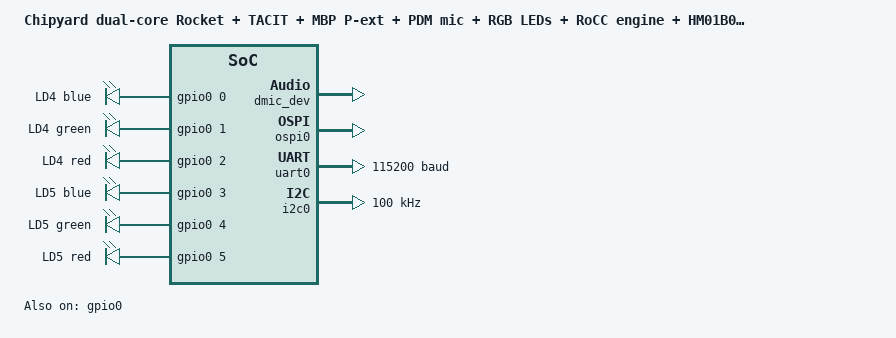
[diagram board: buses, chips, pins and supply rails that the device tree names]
/dts-v1/;

/*
 * chipyard_pynqz1_micrgb plus the HM01B0 camera shield: a sifive TLI2C and the ospi capture
 * peripheral.  For 0x5A5A001E, PynqZ2RocketBigLittlePextTacitMicRgbRoccMoonCamConfig
 * (fpga/pynq-z2/docs/CAMERA_Z1.md).  The RoCC engine on hart 1 is a custom-1 instruction and a
 * pair of bus masters; it has no node.
 *
 * TRANSCRIBED FROM THE GENERATED DTS, which is ground truth:
 *   generated-src/chipyard.harness.TestHarness.PynqZ2RocketBigLittlePextTacitMicRgbRoccMoonCamConfig/*.dts
 * It says, against 0x5A5A0010's:
 *
 *     i2c@10040000     compatible = "sifive,i2c0"; interrupts = <1>;  reg = <0x10040000 0x1000>;
 *     serial@10020000  interrupts = <2>;                  (was <1>)
 *     gpio@10010000    interrupts = <3 4 5 6 7 8>;        (was <2 3 4 5 6 7>)
 *     ospi@10080000    compatible = "ucbbar,ospi-hm01b0"; interrupts = <9>; reg = <0x10080000 0x1000>;
 *     pdm-mic@10090000 no interrupts                      (unchanged)
 *     interrupt-controller@c000000  riscv,ndev = <9>;     (was <7>)
 *
 * THE UART MOVED.  DigitalTop mixes in HasPeripheryI2C before HasPeripheryUART, so the new I2C
 * source is numbered first and everything after it shifts by one.  This is the reason this board
 * exists rather than an overlay on chipyard_pynqz1_micrgb: that board's `interrupts = <1 1>` on
 * the UART is the I2C controller here.
 *
 * THE I2C BUS SPEED IS NOT IN THE GENERATED DTS.  Chipyard's i2c node carries no
 * clock-frequency; Zephyr's i2c_sifive.c needs one for the bus rate (DT_INST_PROP(n,
 * clock_frequency)) and takes the input clock from SIFIVE_PERIPHERAL_CLOCK_FREQUENCY
 * (34,483,000 Hz from this board's defconfig).  The i2c0 node in dts/riscv/chipyard/
 * chipyard-riscv.dtsi already says 100 kHz and "disabled"; this file enables it and corrects
 * its interrupt.  The HM01B0 allows 400 kHz; 100 kHz is kept, as the 200T did not record one.
 *
 * riscv,ndev stays at the shared dtsi's 1024, as on every board here.
 */

#include <zephyr/dt-bindings/gpio/gpio.h>
#include <chipyard/chipyard-riscv64.dtsi>

/ {
	model = "Chipyard dual-core Rocket + TACIT + MBP P-ext + PDM mic + RGB LEDs + RoCC engine + HM01B0 camera (PYNQ-Z1)";
	compatible = "ucb-bar,chipyard-dev";

	chosen {
		zephyr,console = &uart0;
		zephyr,shell-uart = &uart0;
		zephyr,sram = &ram0;
	};

	soc {
		dmic_dev: pdm-mic@10090000 {
			compatible = "iiswc,pdm-mic";
			reg = <0x10090000 0x1000>;
			status = "okay";
		};

		gpio0: gpio@10010000 {
			compatible = "sifive,gpio0";
			reg = <0x10010000 0x1000>;
			reg-names = "control";
			interrupt-parent = <&plic>;
			/* the generated DTS's `interrupts = <3 4 5 6 7 8>` -- one higher than micrgb */
			interrupts = <3 1>, <4 1>, <5 1>, <6 1>, <7 1>, <8 1>;
			gpio-controller;
			#gpio-cells = <2>;
			ngpios = <6>;
			status = "okay";
		};

		ospi0: ospi@10080000 {
			compatible = "ucbbar,ospi-hm01b0";
			reg = <0x10080000 0x1000>;
			interrupt-parent = <&plic>;
			interrupts = <9 1>;
			frame-buffer-depth = <512>;
			sensor-i2c = <&i2c0>;
			status = "okay";
		};
	};

	rgbleds: rgbleds {
		compatible = "gpio-leds";
		ld4_blue:  ld4_blue  { gpios = <&gpio0 0 GPIO_ACTIVE_HIGH>; label = "LD4 blue";  };
		ld4_green: ld4_green { gpios = <&gpio0 1 GPIO_ACTIVE_HIGH>; label = "LD4 green"; };
		ld4_red:   ld4_red   { gpios = <&gpio0 2 GPIO_ACTIVE_HIGH>; label = "LD4 red";   };
		ld5_blue:  ld5_blue  { gpios = <&gpio0 3 GPIO_ACTIVE_HIGH>; label = "LD5 blue";  };
		ld5_green: ld5_green { gpios = <&gpio0 4 GPIO_ACTIVE_HIGH>; label = "LD5 green"; };
		ld5_red:   ld5_red   { gpios = <&gpio0 5 GPIO_ACTIVE_HIGH>; label = "LD5 red";   };
	};

	aliases {
		led0 = &ld4_blue;
		led1 = &ld4_green;
		led2 = &ld4_red;
		led3 = &ld5_blue;
		led4 = &ld5_green;
		led5 = &ld5_red;
		camera-i2c = &i2c0;
		camera0 = &ospi0;
	};
};

&uart0 {
	status = "okay";
	current-speed = <115200>;
	/* PLIC source 2 on this SoC -- see the header. A wrong number here is a console that looks hung. */
	interrupts = <2 1>;
};

&i2c0 {
	status = "okay";
	/* source 1 in the generated DTS; the shared dtsi's <52 1> is another SoC's.  i2c_sifive polls. */
	interrupts = <1 1>;
	clock-frequency = <100000>;
};

&htif {
	status = "disabled";
};

&flash0 {
	status = "disabled";
};
